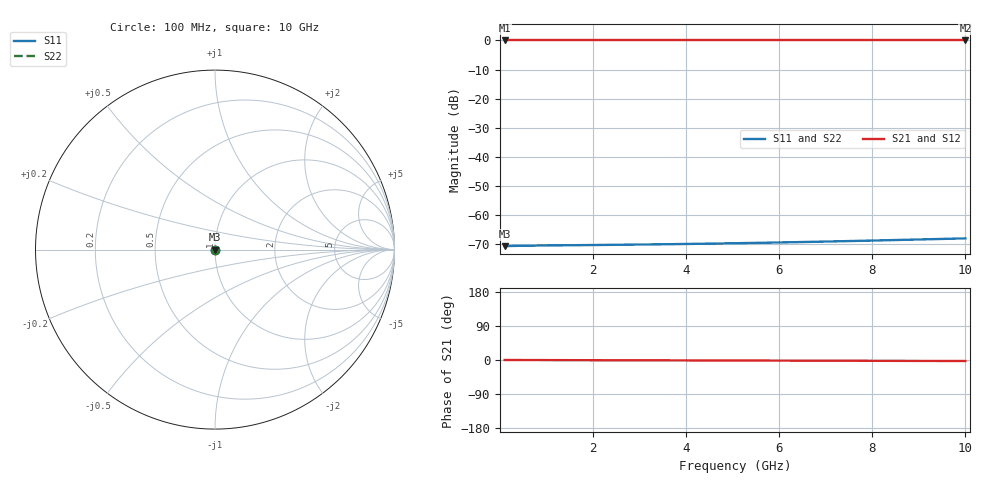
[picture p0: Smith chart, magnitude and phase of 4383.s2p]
# Hz S RI R 50.00
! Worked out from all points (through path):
!   100 points, 100 MHz to 10 GHz, reference 50 ohm
!   highest |S21| = 0.00 dB at 100 MHz (marker M1); lowest = 0.0 dB at 10 GHz (marker M2)
!   lowest |S11| = -70.7 dB at 100 MHz (marker M3), VSWR 1.00, Z = 50 - j0.000228 ohm
!   |S11| at or under -10 dB: start of sweep to end of sweep
!   |S22| runs from -70.7 to -68.0 dB; largest |S21 - S12| = 0
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1e8  0.000291 -2.27e-06  0.9997 -0.000468  0.9997 -0.000468  0.000291 -2.27e-06
2e8  0.000293 -4.55e-06  0.9997 -0.000935  0.9997 -0.000935  0.000293 -4.55e-06
3e8  0.000294 -6.83e-06  0.9997 -0.0014  0.9997 -0.0014  0.000294 -6.83e-06
4e8  0.000295 -9.12e-06  0.9997 -0.00187  0.9997 -0.00187  0.000295 -9.12e-06
6e8  0.000297 -1.37e-05  0.9997 -0.00281  0.9997 -0.00281  0.000297 -1.37e-05
1e9  0.000299 -2.29e-05  0.9997 -0.00468  0.9997 -0.00468  0.000299 -2.29e-05
1.8e9  0.000301 -4.16e-05  0.9997 -0.00842  0.9997 -0.00842  0.000301 -4.16e-05
2.7e9  0.000302 -6.32e-05  0.9996 -0.0126  0.9996 -0.0126  0.000302 -6.32e-05
3.4e9  0.000303 -8.04e-05  0.9996 -0.0159  0.9996 -0.0159  0.000303 -8.04e-05
3.9e9  0.000303 -9.29e-05  0.9995 -0.0183  0.9995 -0.0183  0.000303 -9.29e-05
4.3e9  0.000303 -0.000103  0.9995 -0.0201  0.9995 -0.0201  0.000303 -0.000103
4.7e9  0.000304 -0.000113  0.9994 -0.022  0.9994 -0.022  0.000304 -0.000113
5.1e9  0.000304 -0.000124  0.9994 -0.0239  0.9994 -0.0239  0.000304 -0.000124
5.5e9  0.000304 -0.000134  0.9993 -0.0257  0.9993 -0.0257  0.000304 -0.000134
5.9e9  0.000304 -0.000145  0.9993 -0.0276  0.9993 -0.0276  0.000304 -0.000145
6.3e9  0.000303 -0.000156  0.9992 -0.0295  0.9992 -0.0295  0.000303 -0.000156
6.7e9  0.000303 -0.000166  0.9992 -0.0314  0.9992 -0.0314  0.000303 -0.000166
7.5e9  0.000303 -0.000188  0.999 -0.0351  0.999 -0.0351  0.000303 -0.000188
7.9e9  0.000303 -0.0002  0.999 -0.037  0.999 -0.037  0.000303 -0.0002
8.4e9  0.000302 -0.000214  0.9989 -0.0394  0.9989 -0.0394  0.000302 -0.000214
9.2e9  0.000301 -0.000236  0.9987 -0.0431  0.9987 -0.0431  0.000301 -0.000236
1e10  0.0003 -0.000259  0.9985 -0.0469  0.9985 -0.0469  0.0003 -0.000259
